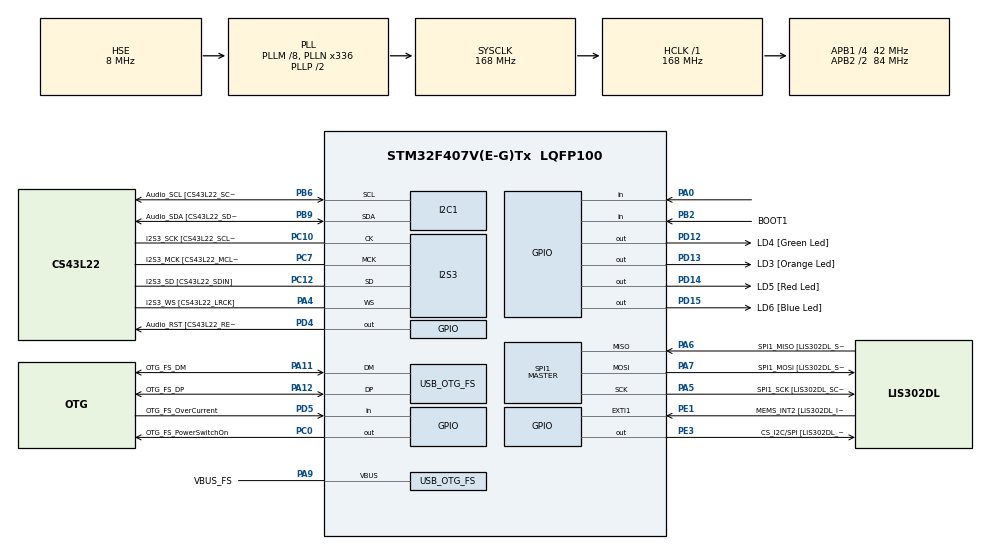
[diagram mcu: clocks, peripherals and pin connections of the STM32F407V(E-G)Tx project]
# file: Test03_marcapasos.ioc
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I2S3.AudioFreq-Half_Duplex_Master=I2S_AUDIOFREQ_96K
I2S3.ErrorAudioFreq=-2.34 %
I2S3.ErrorAudioFreq-Half_Duplex_Master=0.8 %
I2S3.FullDuplexMode=I2S_FULLDUPLEXMODE_DISABLE
I2S3.Instance=SPI$Index
I2S3.RealAudioFreq=93.75 KHz
I2S3.RealAudioFreq-Half_Duplex_Master=96.774 KHz
I2S3.VirtualMode=I2S_MODE_MASTER
Mcu.Family=STM32F4
Mcu.Name=STM32F407V(E-G)Tx
Mcu.Package=LQFP100
NVIC.OTG_FS_IRQn=true\:0\:0\:false\:false\:true\:true
NVIC.PriorityGroup=NVIC_PRIORITYGROUP_0
PA0-WKUP.Signal=GPIO_Input
PA10.GPIO_Label=OTG_FS_ID
PA10.GPIO_Mode=GPIO_MODE_AF_PP
PA10.GPIO_PuPd=GPIO_NOPULL
PA10.GPIO_Speed=GPIO_SPEED_FREQ_LOW
PA10.Signal=USB_OTG_FS_ID
PA11.GPIO_Label=OTG_FS_DM
PA11.GPIO_Mode=GPIO_MODE_AF_PP
PA11.GPIO_PuPd=GPIO_NOPULL
PA11.GPIO_Speed=GPIO_SPEED_FREQ_LOW
PA11.Mode=Host_Only
PA11.Signal=USB_OTG_FS_DM
PA12.GPIO_Label=OTG_FS_DP
PA12.GPIO_Mode=GPIO_MODE_AF_PP
PA12.GPIO_PuPd=GPIO_NOPULL
PA12.GPIO_Speed=GPIO_SPEED_FREQ_LOW
PA12.Mode=Host_Only
PA12.Signal=USB_OTG_FS_DP
PA13.GPIO_Label=SWDIO
PA13.Mode=Serial_Wire
PA13.Signal=SYS_JTMS-SWDIO
PA14.GPIO_Label=SWCLK
PA14.Mode=Serial_Wire
PA14.Signal=SYS_JTCK-SWCLK
PA4.GPIO_Label=I2S3_WS [CS43L22_LRCK]
PA4.GPIO_Mode=GPIO_MODE_AF_PP
PA4.GPIO_PuPd=GPIO_NOPULL
PA4.GPIO_Speed=GPIO_SPEED_FREQ_LOW
PA4.Mode=Half_Duplex_Master
PA4.Signal=I2S3_WS
PA5.GPIO_Label=SPI1_SCK [LIS302DL_SCL/SPC]
PA5.GPIO_Mode=GPIO_MODE_AF_PP
PA5.GPIO_PuPd=GPIO_NOPULL
PA5.GPIO_Speed=GPIO_SPEED_FREQ_LOW
PA5.Mode=Full_Duplex_Master
PA5.Signal=SPI1_SCK
PA6.GPIO_Label=SPI1_MISO [LIS302DL_SDO]
PA6.GPIO_Mode=GPIO_MODE_AF_PP
PA6.GPIO_PuPd=GPIO_NOPULL
PA6.GPIO_Speed=GPIO_SPEED_FREQ_LOW
PA6.Mode=Full_Duplex_Master
PA6.Signal=SPI1_MISO
PA7.GPIO_Label=SPI1_MOSI [LIS302DL_SDA/SDI/SDO]
PA7.GPIO_Mode=GPIO_MODE_AF_PP
PA7.GPIO_PuPd=GPIO_NOPULL
PA7.GPIO_Speed=GPIO_SPEED_FREQ_LOW
PA7.Mode=Full_Duplex_Master
PA7.Signal=SPI1_MOSI
PA9.GPIO_Label=VBUS_FS
PA9.GPIO_Mode=GPIO_MODE_INPUT
PA9.GPIO_PuPd=GPIO_NOPULL
PA9.Mode=Activate_VBUS
PA9.Signal=USB_OTG_FS_VBUS
PB10.GPIO_Label=CLK_IN [MP45DT02_CLK]
PB10.GPIO_Mode=GPIO_MODE_AF_PP
PB10.GPIO_PuPd=GPIO_NOPULL
PB10.GPIO_Speed=GPIO_SPEED_FREQ_LOW
PB10.Signal=I2S2_CK
PB2.GPIO_Label=BOOT1
PB2.GPIO_Mode=GPIO_MODE_INPUT
PB2.GPIO_PuPd=GPIO_NOPULL
PB2.Signal=GPIO_Input
PB3.GPIO_Label=SWO
PB3.Signal=SYS_JTDO-SWO
PB6.GPIO_Label=Audio_SCL [CS43L22_SCL]
PB6.GPIO_Mode=GPIO_MODE_AF_OD
PB6.GPIO_PuPd=GPIO_NOPULL
PB6.GPIO_Speed=GPIO_SPEED_FREQ_LOW
PB6.Mode=I2C
PB6.Signal=I2C1_SCL
PB9.GPIO_Label=Audio_SDA [CS43L22_SDA]
PB9.GPIO_Mode=GPIO_MODE_AF_OD
PB9.GPIO_PuPd=GPIO_NOPULL
PB9.GPIO_Speed=GPIO_SPEED_FREQ_LOW
PB9.Mode=I2C
PB9.Signal=I2C1_SDA
PC0.GPIO_Label=OTG_FS_PowerSwitchOn
PC0.GPIO_PuPd=GPIO_NOPULL
PC0.GPIO_Speed=GPIO_SPEED_FREQ_LOW
PC0.PinState=GPIO_PIN_SET
PC0.Signal=GPIO_Output
PC10.GPIO_Label=I2S3_SCK [CS43L22_SCLK]
PC10.GPIO_Mode=GPIO_MODE_AF_PP
PC10.GPIO_PuPd=GPIO_NOPULL
PC10.GPIO_Speed=GPIO_SPEED_FREQ_LOW
PC10.Mode=Half_Duplex_Master
PC10.Signal=I2S3_CK
PC12.GPIO_Label=I2S3_SD [CS43L22_SDIN]
PC12.GPIO_Mode=GPIO_MODE_AF_PP
PC12.GPIO_PuPd=GPIO_NOPULL
PC12.GPIO_Speed=GPIO_SPEED_FREQ_LOW
PC12.Mode=Half_Duplex_Master
PC12.Signal=I2S3_SD
PC14-OSC32_IN.GPIO_Label=PC14-OSC32_IN
PC14-OSC32_IN.Mode=LSE-External-Oscillator
PC14-OSC32_IN.Signal=RCC_OSC32_IN
PC15-OSC32_OUT.GPIO_Label=PC15-OSC32_OUT
PC15-OSC32_OUT.Mode=LSE-External-Oscillator
PC15-OSC32_OUT.Signal=RCC_OSC32_OUT
PC3.GPIO_Label=PDM_OUT [MP45DT02_DOUT]
PC3.GPIO_Mode=GPIO_MODE_AF_PP
PC3.GPIO_PuPd=GPIO_NOPULL
PC3.GPIO_Speed=GPIO_SPEED_FREQ_LOW
PC3.Signal=I2S2_SD
PC7.GPIO_Label=I2S3_MCK [CS43L22_MCLK]
PC7.GPIO_Mode=GPIO_MODE_AF_PP
PC7.GPIO_PuPd=GPIO_NOPULL
PC7.GPIO_Speed=GPIO_SPEED_FREQ_LOW
PC7.Mode=Master_Clock_Activated
PC7.Signal=I2S3_MCK
PD12.GPIO_Label=LD4 [Green Led]
PD12.GPIO_PuPd=GPIO_NOPULL
PD12.GPIO_Speed=GPIO_SPEED_FREQ_LOW
PD12.Signal=GPIO_Output
PD13.GPIO_Label=LD3 [Orange Led]
PD13.GPIO_PuPd=GPIO_NOPULL
PD13.GPIO_Speed=GPIO_SPEED_FREQ_LOW
PD13.Signal=GPIO_Output
PD14.GPIO_Label=LD5 [Red Led]
PD14.GPIO_PuPd=GPIO_NOPULL
PD14.GPIO_Speed=GPIO_SPEED_FREQ_LOW
PD14.Signal=GPIO_Output
PD15.GPIO_Label=LD6 [Blue Led]
PD15.GPIO_PuPd=GPIO_NOPULL
PD15.GPIO_Speed=GPIO_SPEED_FREQ_LOW
PD15.Signal=GPIO_Output
PD4.GPIO_Label=Audio_RST [CS43L22_RESET]
PD4.GPIO_PuPd=GPIO_NOPULL
PD4.GPIO_Speed=GPIO_SPEED_FREQ_LOW
PD4.Signal=GPIO_Output
PD5.GPIO_Label=OTG_FS_OverCurrent
PD5.GPIO_Mode=GPIO_MODE_INPUT
PD5.GPIO_PuPd=GPIO_NOPULL
PD5.Signal=GPIO_Input
PE1.GPIO_Label=MEMS_INT2 [LIS302DL_INT2]
PE1.GPIO_ModeDefaultEXTI=GPIO_MODE_EVT_RISING
PE1.GPIO_PuPd=GPIO_NOPULL
PE1.Signal=GPXTI1
PE3.GPIO_Label=CS_I2C/SPI [LIS302DL_CS_I2C/SPI]
PE3.GPIO_PuPd=GPIO_NOPULL
PE3.GPIO_Speed=GPIO_SPEED_FREQ_LOW
PE3.Signal=GPIO_Output
PH0-OSC_IN.GPIO_Label=PH0-OSC_IN
PH0-OSC_IN.Mode=HSE-External-Oscillator
PH0-OSC_IN.Signal=RCC_OSC_IN
PH1-OSC_OUT.GPIO_Label=PH1-OSC_OUT
PH1-OSC_OUT.Mode=HSE-External-Oscillator
PH1-OSC_OUT.Signal=RCC_OSC_OUT
ProjectManager.HeapSize=0x200
ProjectManager.StackSize=0x400
ProjectManager.TargetToolchain=SW4STM32
RCC.48MHZClocksFreq_Value=48000000
RCC.AHBFreq_Value=168000000
RCC.APB1CLKDivider=RCC_HCLK_DIV4
RCC.APB1Freq_Value=42000000
RCC.APB1TimFreq_Value=84000000
RCC.APB2CLKDivider=RCC_HCLK_DIV2
RCC.APB2Freq_Value=84000000
RCC.APB2TimFreq_Value=168000000
RCC.CortexFreq_Value=168000000
RCC.HCLKFreq_Value=168000000
RCC.HSE_VALUE=8000000
RCC.HSI_VALUE=16000000
RCC.PLLM=8
RCC.PLLN=336
RCC.PLLQ=7
RCC.SYSCLKFreq_VALUE=168000000
RCC.SYSCLKSource=RCC_SYSCLKSOURCE_PLLCLK
RCC.VCOOutputFreq_Value=336000000
SPI1.BaudRatePrescaler-Full_Duplex_Master=SPI_BAUDRATEPRESCALER_2
SPI1.CalculateBaudRate-Full_Duplex_Master=42.0 MBits/s
SPI1.Direction=SPI_DIRECTION_2LINES
SPI1.Mode=SPI_MODE_MASTER
SPI1.Mode-Full_Duplex_Master=SPI_MODE_MASTER
SPI1.VirtualType=VM_MASTER
USB_HOST.BSP.number=1
USB_HOST.USBH_HandleTypeDef-CDC_FS=hUsbHostFS
USB_HOST.VirtualModeFS=Cdc
USB_HOST0.BSP.STBoard=false
USB_HOST0.BSP.api=UnknownBspDriver
USB_HOST0.BSP.i2caddr=0
USB_HOST0.BSP.i2creg=0
USB_HOST0.BSP.instance=PC0
USB_HOST0.BSP.ip=GPIO
USB_HOST0.BSP.mode=Output
USB_HOST0.BSP.name=Drive_VBUS_FS
USB_HOST0.BSP.solution=PC0
USB_OTG_FS.VirtualMode=Host_Only
USB_OTG_FS.phy_itface=HCD_PHY_EMBEDDED
VP_USB_HOST_VS_USB_HOST_CDC_FS.Mode=CDC_FS
board=STM32F4DISCOVERY

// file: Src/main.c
/**
  ******************************************************************************
  * @file           : main.c
  * @brief          : Main program body
  ******************************************************************************
  * This notice applies to any and all portions of this file
  * that are not between comment pairs USER CODE BEGIN and
  * USER CODE END. Other portions of this file, whether
  * inserted by the user or by software development tools
  * are owned by their respective copyright owners.
  *
  * Copyright (c) 2018 STMicroelectronics International N.V.
  * All rights reserved.
  *
  * Redistribution and use in source and binary forms, with or without
  * modification, are permitted, provided that the following conditions are met:
  *
  * 1. Redistribution of source code must retain the above copyright notice,
  *    this list of conditions and the following disclaimer.
  * 2. Redistributions in binary form must reproduce the above copyright notice,
  *    this list of conditions and the following disclaimer in the documentation
  *    and/or other materials provided with the distribution.
  * 3. Neither the name of STMicroelectronics nor the names of other
  *    contributors to this software may be used to endorse or promote products
  *    derived from this software without specific written permission.
  * 4. This software, including modifications and/or derivative works of this
  *    software, must execute solely and exclusively on microcontroller or
  *    microprocessor devices manufactured by or for STMicroelectronics.
  * 5. Redistribution and use of this software other than as permitted under
  *    this license is void and will automatically terminate your rights under
  *    this license.
  *
  * THIS SOFTWARE IS PROVIDED BY STMICROELECTRONICS AND CONTRIBUTORS "AS IS"
  * AND ANY EXPRESS, IMPLIED OR STATUTORY WARRANTIES, INCLUDING, BUT NOT
  * LIMITED TO, THE IMPLIED WARRANTIES OF MERCHANTABILITY, FITNESS FOR A
  * PARTICULAR PURPOSE AND NON-INFRINGEMENT OF THIRD PARTY INTELLECTUAL PROPERTY
  * RIGHTS ARE DISCLAIMED TO THE FULLEST EXTENT PERMITTED BY LAW. IN NO EVENT
  * SHALL STMICROELECTRONICS OR CONTRIBUTORS BE LIABLE FOR ANY DIRECT, INDIRECT,
  * INCIDENTAL, SPECIAL, EXEMPLARY, OR CONSEQUENTIAL DAMAGES (INCLUDING, BUT NOT
  * LIMITED TO, PROCUREMENT OF SUBSTITUTE GOODS OR SERVICES; LOSS OF USE, DATA,
  * OR PROFITS; OR BUSINESS INTERRUPTION) HOWEVER CAUSED AND ON ANY THEORY OF
  * LIABILITY, WHETHER IN CONTRACT, STRICT LIABILITY, OR TORT (INCLUDING
  * NEGLIGENCE OR OTHERWISE) ARISING IN ANY WAY OUT OF THE USE OF THIS SOFTWARE,
  * EVEN IF ADVISED OF THE POSSIBILITY OF SUCH DAMAGE.
  *
  ******************************************************************************
  */
#include "main.h"
#include "stm32f4xx_hal.h"
#include "i2c.h"
#include "i2s.h"
#include "spi.h"
#include "usb_host.h"
#include "gpio.h"

/* USER CODE BEGIN Includes */
#define Freq 60 //Fijamos pulsaciones del corazón a 60 por minuto.
#define Tiempo 10 //Duración en ms del impulso eléctrico.

/* USER CODE END Includes */

/* USER CODE BEGIN PV */
/* Private variables ---------------------------------------------------------*/

/* USER CODE END PV */

void SystemClock_Config(void);
void MX_USB_HOST_Process(void);

/* USER CODE BEGIN PFP */
/* Private function prototypes -----------------------------------------------*/

/* USER CODE END PFP */

/* USER CODE BEGIN 0 */
void marcapasos(active)
{

   	if(active) //Si active == 1 se activa el marcapasos.
   	{

   		float freq_s = 0.0;
   		float period = 0.0;
   		HAL_GPIO_WritePin(GPIOD, GPIO_PIN_13, 1); //Led naranja encendido.
   		HAL_GPIO_WritePin(GPIOD, GPIO_PIN_14, 1); //Led rojo encendido.
   		HAL_Delay(Tiempo); //Tiempo = 10 ms.
   		HAL_GPIO_WritePin(GPIOD, GPIO_PIN_14, 0); //Led rojo apagado.
   		freq_s = (Freq/60); //freq_s = (Freq/60) = (60/60) = 1 Hz
   		period = 1/freq_s; // 1/(1Hz) = 1sg
   		HAL_Delay(1000*(period/2)); //1000*(1sg/2) = 500 ms = 0,5 sg.
   		HAL_GPIO_WritePin(GPIOD, GPIO_PIN_13, 0); //Led naranja apagado
   		HAL_Delay(1000*(period/2)); //1000*(1sg/2) = 500 ms = 0,5 sg.

   	}

   	else //Si active == 0 se desactiva el marcapasos.
   	{

   		HAL_Delay(500);

   	}

}
/* USER CODE END 0 */

int main(void)
{
  /* USER CODE BEGIN 1 */

	int button, active = 0;

  /* USER CODE END 1 */

  /* MCU Configuration----------------------------------------------------------*/

  /* Reset of all peripherals, Initializes the Flash interface and the Systick. */
  HAL_Init();

  /* Configure the system clock */
  SystemClock_Config();

  /* Initialize all configured peripherals */
  MX_GPIO_Init();
  MX_I2C1_Init();
  MX_I2S3_Init();
  MX_SPI1_Init();
  MX_USB_HOST_Init();
  /* USER CODE BEGIN 2 */
  HAL_GPIO_WritePin(GPIOD, GPIO_PIN_12, 1);
  /* USER CODE END 2 */

  /* Infinite loop */
  while (1)
  {
    MX_USB_HOST_Process();
    button = HAL_GPIO_ReadPin(GPIOA, GPIO_PIN_0);

  /* USER CODE BEGIN 3 */
    if(button){

    	active = !active;
    	//Las dos siguientes intrucciones son de "antirrebote".
    	/*
    	 * EFECTO REBOTE:
    	 *
    	 * Cuando se pulsa un botón con la intención de obtener un 1 en un pin,
    	 * es muy frecuente que el botón rebote varias veces obteniendose unos
    	 * y ceros sucesivos.
    	 *
    	 * Para evitar ésto, una vez que se ha pulsado el botón y se registra
    	 * mediante active = 1, se introduce un retardo para que los rebotes
    	 * no tengan efecto.
    	 *
    	 * Además, para prever el caso en que el usuario mantenga más tiempo
    	 * que el retardo el botón pulsado (pudiendose aún producirse rebotes),
    	 * se introduce un ciclo while.
    	 * Dicho ciclo while mantendrá la ejecución secuencial del programa
    	 * interrumpida mientras se detecte un uno en la entrada del botón.
    	 *
    	 */
    	HAL_Delay(100);
    	while(HAL_GPIO_ReadPin(GPIOA, GPIO_PIN_0));

    }

    marcapasos(active);

  }
  /* USER CODE END 3 */

}

void SystemClock_Config(void)
{

  RCC_OscInitTypeDef RCC_OscInitStruct;
  RCC_ClkInitTypeDef RCC_ClkInitStruct;
  RCC_PeriphCLKInitTypeDef PeriphClkInitStruct;

    /**Configure the main internal regulator output voltage
    */
  __HAL_RCC_PWR_CLK_ENABLE();

  __HAL_PWR_VOLTAGESCALING_CONFIG(PWR_REGULATOR_VOLTAGE_SCALE1);

    /**Initializes the CPU, AHB and APB busses clocks
    */
  RCC_OscInitStruct.OscillatorType = RCC_OSCILLATORTYPE_HSE;
  RCC_OscInitStruct.HSEState = RCC_HSE_ON;
  RCC_OscInitStruct.PLL.PLLState = RCC_PLL_ON;
  RCC_OscInitStruct.PLL.PLLSource = RCC_PLLSOURCE_HSE;
  RCC_OscInitStruct.PLL.PLLM = 8;
  RCC_OscInitStruct.PLL.PLLN = 336;
  RCC_OscInitStruct.PLL.PLLP = RCC_PLLP_DIV2;
  RCC_OscInitStruct.PLL.PLLQ = 7;
  if (HAL_RCC_OscConfig(&RCC_OscInitStruct) != HAL_OK)
  {
    _Error_Handler(__FILE__, __LINE__);
  }

    /**Initializes the CPU, AHB and APB busses clocks
    */
  RCC_ClkInitStruct.ClockType = RCC_CLOCKTYPE_HCLK|RCC_CLOCKTYPE_SYSCLK
                              |RCC_CLOCKTYPE_PCLK1|RCC_CLOCKTYPE_PCLK2;
  RCC_ClkInitStruct.SYSCLKSource = RCC_SYSCLKSOURCE_PLLCLK;
  RCC_ClkInitStruct.AHBCLKDivider = RCC_SYSCLK_DIV1;
  RCC_ClkInitStruct.APB1CLKDivider = RCC_HCLK_DIV4;
  RCC_ClkInitStruct.APB2CLKDivider = RCC_HCLK_DIV2;

  if (HAL_RCC_ClockConfig(&RCC_ClkInitStruct, FLASH_LATENCY_5) != HAL_OK)
  {
    _Error_Handler(__FILE__, __LINE__);
  }

  PeriphClkInitStruct.PeriphClockSelection = RCC_PERIPHCLK_I2S;
  PeriphClkInitStruct.PLLI2S.PLLI2SN = 192;
  PeriphClkInitStruct.PLLI2S.PLLI2SR = 2;
  if (HAL_RCCEx_PeriphCLKConfig(&PeriphClkInitStruct) != HAL_OK)
  {
    _Error_Handler(__FILE__, __LINE__);
  }

    /**Configure the Systick interrupt time
    */
  HAL_SYSTICK_Config(HAL_RCC_GetHCLKFreq()/1000);

    /**Configure the Systick
    */
  HAL_SYSTICK_CLKSourceConfig(SYSTICK_CLKSOURCE_HCLK);

  /* SysTick_IRQn interrupt configuration */
  HAL_NVIC_SetPriority(SysTick_IRQn, 0, 0);
}

void _Error_Handler(char *file, int line)
{
  while(1)
  {
  }
}

/************************ (C) COPYRIGHT STMicroelectronics *****END OF FILE****/
